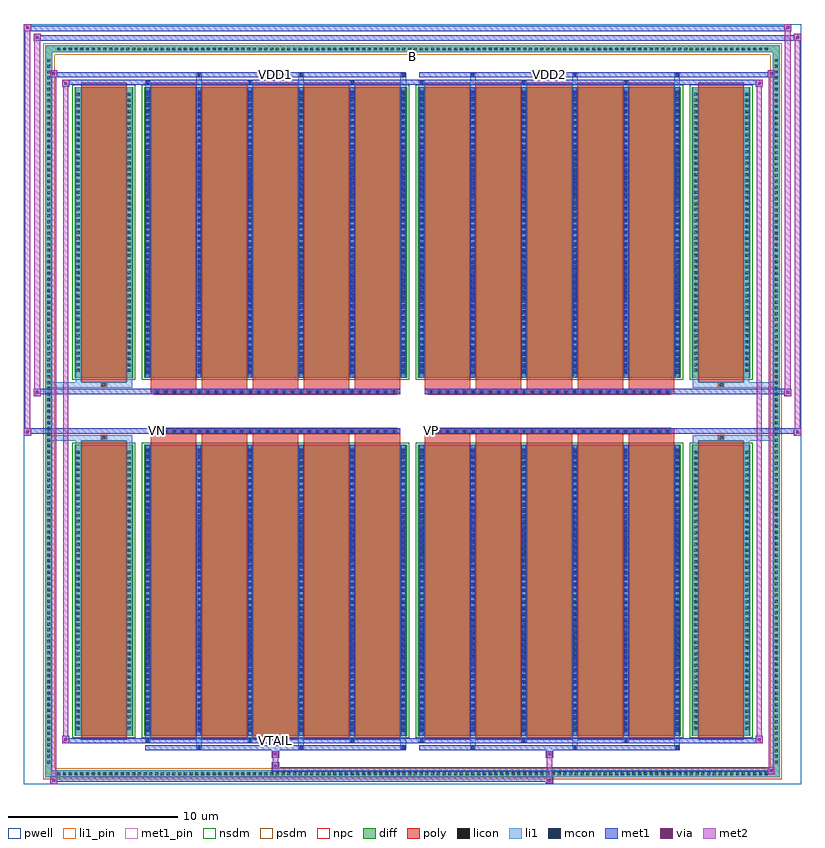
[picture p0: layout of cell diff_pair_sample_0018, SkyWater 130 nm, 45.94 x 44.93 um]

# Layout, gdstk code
import gdstk
lib = gdstk.Library(unit=1e-6, precision=5e-09)
def R(c, l, rs):  # rectangles x0, y0, x1, y1
    for r in rs: c.add(gdstk.rectangle(r[:2], r[2:], *l))
def A(c, l, x, y, w, h, nx, ny, dx, dy):  # array of equal rectangles
    R(c, l, [(x+i*dx, y+j*dy, x+i*dx+w, y+j*dy+h) for i in range(nx) for j in range(ny)])
def P(c, l, *ps):  # polygons
    for p in ps: c.add(gdstk.Polygon(p, *l))
pwell = (64, 44)
diff = (65, 20)
poly = (66, 20)
licon = (66, 44)
li1_pin = (67, 16)
li1 = (67, 20)
mcon = (67, 44)
met1_pin = (68, 16)
met1 = (68, 20)
via = (68, 44)
met2 = (69, 20)
nsdm = (93, 44)
psdm = (94, 20)
npc = (95, 20)

diff_pair_sample_0018 = lib.new_cell('diff_pair_sample_0018')
R(diff_pair_sample_0018, pwell, [(-22.97,-22.03,22.97,22.9), (-20.29,-20.22,-0.01,-0.8), (0.01,-20.22,20.29,-0.8), (-20.29,0.8,-0.01,20.22), (0.01,0.8,20.29,20.22)])
A(diff_pair_sample_0018, diff, -21.115, -21.63, 0.41, 0.41, 124, 2, 0.34, 42.85)
A(diff_pair_sample_0018, diff, -21.7, -20.945, 0.41, 0.41, 1, 123, 0, 0.34)
A(diff_pair_sample_0018, diff, 21.29, -20.945, 0.41, 0.41, 1, 123, 0, 0.34)
R(diff_pair_sample_0018, diff, [(-21.115,-21.63,21.115,-21.22), (-21.7,-20.945,-21.29,20.945), (21.29,-20.945,21.7,20.945), (-19.98,-19.175,-16.51,-1.985), (-15.87,-19.175,-0.32,-1.985), (0.32,-19.175,15.87,-1.985), (16.51,-19.175,19.98,-1.985), (-19.98,1.985,-16.51,19.175), (-15.87,1.985,-0.32,19.175), (0.32,1.985,15.87,19.175), (16.51,1.985,19.98,19.175), (-21.115,21.22,21.115,21.63)])
P(diff_pair_sample_0018, diff, [(21.7,21.63),(-21.7,21.63),(-21.7,-21.22),(-21.29,-21.22),(-21.29,21.22),(21.29,21.22),(21.29,-21.22),(-21.29,-21.22),(-21.7,-21.22),(-21.7,-21.63),(21.7,-21.63)])
A(diff_pair_sample_0018, poly, -15.48, -19.425, 2.69, 17.69, 5, 2, 3.02, 21.16)
A(diff_pair_sample_0018, poly, 0.71, -19.425, 2.69, 17.69, 5, 2, 3.02, 21.16)
A(diff_pair_sample_0018, poly, -15.48, -1.735, 2.69, 0.405, 5, 2, 3.02, 3.065)
A(diff_pair_sample_0018, poly, 0.71, -1.735, 2.69, 0.405, 5, 2, 3.02, 3.065)
A(diff_pair_sample_0018, poly, -15.26, -1.33, 0.33, 0.33, 29, 2, 0.5, 2.33)
A(diff_pair_sample_0018, poly, 0.93, -1.33, 0.33, 0.33, 29, 2, 0.5, 2.33)
R(diff_pair_sample_0018, poly, [(-19.59,-19.425,-16.9,-1.735), (16.9,-19.425,19.59,-1.735), (-18.41,-1.735,-18.08,-1.405), (-18.41,-1.735,-18.08,-1.405), (18.08,-1.735,18.41,-1.405), (18.08,-1.735,18.41,-1.405), (-15.48,-1.33,-0.71,-1), (0.71,-1.33,15.48,-1), (-15.48,1,-0.71,1.33), (0.71,1,15.48,1.33), (-18.41,1.405,-18.08,1.735), (-18.41,1.405,-18.08,1.735), (18.08,1.405,18.41,1.735), (18.08,1.405,18.41,1.735), (-19.59,1.735,-16.9,19.425), (16.9,1.735,19.59,19.425)])
A(diff_pair_sample_0018, licon, -20.995, -21.51, 0.17, 0.17, 124, 2, 0.34, 42.85)
A(diff_pair_sample_0018, licon, -21.58, -20.825, 0.17, 0.17, 1, 123, 0, 0.34)
A(diff_pair_sample_0018, licon, 21.41, -20.825, 0.17, 0.17, 1, 123, 0, 0.34)
A(diff_pair_sample_0018, licon, -19.84, -18.825, 0.17, 0.17, 1, 49, 0, 0.34)
A(diff_pair_sample_0018, licon, -16.82, -18.825, 0.17, 0.17, 1, 49, 0, 0.34)
A(diff_pair_sample_0018, licon, -15.73, -18.825, 0.17, 0.17, 6, 49, 3.02, 0.34)
A(diff_pair_sample_0018, licon, 0.46, -18.825, 0.17, 0.17, 6, 49, 3.02, 0.34)
A(diff_pair_sample_0018, licon, 16.65, -18.825, 0.17, 0.17, 1, 49, 0, 0.34)
A(diff_pair_sample_0018, licon, 19.67, -18.825, 0.17, 0.17, 1, 49, 0, 0.34)
A(diff_pair_sample_0018, licon, -15.18, -1.25, 0.17, 0.17, 29, 2, 0.5, 2.33)
A(diff_pair_sample_0018, licon, 1.01, -1.25, 0.17, 0.17, 29, 2, 0.5, 2.33)
A(diff_pair_sample_0018, licon, -19.84, 2.335, 0.17, 0.17, 1, 49, 0, 0.34)
A(diff_pair_sample_0018, licon, -16.82, 2.335, 0.17, 0.17, 1, 49, 0, 0.34)
A(diff_pair_sample_0018, licon, -15.73, 2.335, 0.17, 0.17, 6, 49, 3.02, 0.34)
A(diff_pair_sample_0018, licon, 0.46, 2.335, 0.17, 0.17, 6, 49, 3.02, 0.34)
A(diff_pair_sample_0018, licon, 16.65, 2.335, 0.17, 0.17, 1, 49, 0, 0.34)
A(diff_pair_sample_0018, licon, 19.67, 2.335, 0.17, 0.17, 1, 49, 0, 0.34)
R(diff_pair_sample_0018, licon, [(-18.33,-1.655,-18.16,-1.485), (18.16,-1.655,18.33,-1.485), (-18.33,1.485,-18.16,1.655), (18.16,1.485,18.33,1.655)])
R(diff_pair_sample_0018, li1_pin, [(-0.25,20.72,0.25,21.22)])
A(diff_pair_sample_0018, li1, -21.075, -21.59, 0.33, 0.33, 124, 2, 0.34, 42.85)
A(diff_pair_sample_0018, li1, -21.66, -20.905, 0.33, 0.33, 1, 123, 0, 0.34)
A(diff_pair_sample_0018, li1, 21.33, -20.905, 0.33, 0.33, 1, 123, 0, 0.34)
A(diff_pair_sample_0018, li1, -12.79, -19.98, 0.33, 0.805, 3, 2, 6.04, 39.155)
A(diff_pair_sample_0018, li1, -12.71, -19.98, 0.17, 0.17, 3, 2, 6.04, 39.79)
A(diff_pair_sample_0018, li1, 3.4, -19.98, 0.33, 0.805, 3, 2, 6.04, 39.155)
A(diff_pair_sample_0018, li1, 3.48, -19.98, 0.17, 0.17, 3, 2, 6.04, 39.79)
A(diff_pair_sample_0018, li1, -15.81, -19.55, 0.33, 0.375, 3, 2, 6.04, 38.725)
A(diff_pair_sample_0018, li1, -15.73, -19.55, 0.17, 0.17, 3, 2, 6.04, 38.93)
A(diff_pair_sample_0018, li1, 0.38, -19.55, 0.33, 0.375, 3, 2, 6.04, 38.725)
A(diff_pair_sample_0018, li1, 0.46, -19.55, 0.17, 0.17, 3, 2, 6.04, 38.93)
A(diff_pair_sample_0018, li1, -15.81, -19.175, 0.33, 17.19, 6, 2, 3.02, 21.16)
A(diff_pair_sample_0018, li1, 0.38, -19.175, 0.33, 17.19, 6, 2, 3.02, 21.16)
A(diff_pair_sample_0018, li1, -15.73, -18.945, 0.17, 0.17, 6, 47, 3.02, 0.36)
A(diff_pair_sample_0018, li1, -15.73, -18.945, 0.17, 16.73, 6, 2, 3.02, 21.16)
A(diff_pair_sample_0018, li1, 0.46, -18.945, 0.17, 0.17, 6, 47, 3.02, 0.36)
A(diff_pair_sample_0018, li1, 0.46, -18.945, 0.17, 16.73, 6, 2, 3.02, 21.16)
A(diff_pair_sample_0018, li1, -19.92, -18.905, 0.33, 0.33, 1, 49, 0, 0.34)
A(diff_pair_sample_0018, li1, -16.9, -18.905, 0.33, 0.33, 1, 49, 0, 0.34)
A(diff_pair_sample_0018, li1, -15.81, -18.905, 0.33, 0.33, 6, 49, 3.02, 0.34)
A(diff_pair_sample_0018, li1, 0.38, -18.905, 0.33, 0.33, 6, 49, 3.02, 0.34)
A(diff_pair_sample_0018, li1, 16.57, -18.905, 0.33, 0.33, 1, 49, 0, 0.34)
A(diff_pair_sample_0018, li1, 19.59, -18.905, 0.33, 0.33, 1, 49, 0, 0.34)
A(diff_pair_sample_0018, li1, -15.26, -1.33, 0.33, 0.33, 29, 2, 0.5, 2.33)
A(diff_pair_sample_0018, li1, 0.93, -1.33, 0.33, 0.33, 29, 2, 0.5, 2.33)
A(diff_pair_sample_0018, li1, -15.73, 2.215, 0.17, 0.17, 6, 47, 3.02, 0.36)
A(diff_pair_sample_0018, li1, 0.46, 2.215, 0.17, 0.17, 6, 47, 3.02, 0.36)
A(diff_pair_sample_0018, li1, -19.92, 2.255, 0.33, 0.33, 1, 49, 0, 0.34)
A(diff_pair_sample_0018, li1, -16.9, 2.255, 0.33, 0.33, 1, 49, 0, 0.34)
A(diff_pair_sample_0018, li1, -15.81, 2.255, 0.33, 0.33, 6, 49, 3.02, 0.34)
A(diff_pair_sample_0018, li1, 0.38, 2.255, 0.33, 0.33, 6, 49, 3.02, 0.34)
A(diff_pair_sample_0018, li1, 16.57, 2.255, 0.33, 0.33, 1, 49, 0, 0.34)
A(diff_pair_sample_0018, li1, 19.59, 2.255, 0.33, 0.33, 1, 49, 0, 0.34)
R(diff_pair_sample_0018, li1, [(-21.7,-21.63,-21.29,-21.22), (-21.7,-21.63,-21.29,-21.22), (-21.29,-21.63,21.29,-21.22), (21.29,-21.63,21.7,-21.22), (21.29,-21.63,21.7,-21.22), (-21.7,-21.22,-21.29,21.22), (21.29,-21.22,21.7,21.22), (-19.92,-19.175,-19.59,-1.985), (-16.9,-19.175,-16.57,-1.985), (16.57,-19.175,16.9,-1.985), (19.59,-19.175,19.92,-1.985), (-19.92,-1.985,-19.59,-1.405), (-16.9,-1.985,-16.57,-1.405), (16.57,-1.985,16.9,-1.405), (19.59,-1.985,19.92,-1.405), (-21.7,-1.735,-18.41,-1.405), (-19.92,-1.735,-18.41,-1.405), (-18.41,-1.735,-18.08,-1.405), (-18.08,-1.735,-16.57,-1.405), (16.57,-1.735,18.08,-1.405), (18.08,-1.735,18.41,-1.405), (18.08,-1.735,21.7,-1.405), (18.41,-1.735,19.92,-1.405), (-21.7,1.405,-18.41,1.735), (-19.92,1.405,-18.41,1.735), (-19.92,1.405,-19.59,1.985), (-18.41,1.405,-18.08,1.735), (-18.08,1.405,-16.57,1.735), (-16.9,1.405,-16.57,1.985), (16.57,1.405,18.08,1.735), (16.57,1.405,16.9,1.985), (18.08,1.405,18.41,1.735), (18.08,1.405,21.7,1.735), (18.41,1.405,19.92,1.735), (19.59,1.405,19.92,1.985), (-19.92,1.985,-19.59,19.175), (-16.9,1.985,-16.57,19.175), (16.57,1.985,16.9,19.175), (19.59,1.985,19.92,19.175), (-21.7,21.22,-21.29,21.63), (-21.7,21.22,-21.29,21.63), (-21.29,21.22,21.29,21.63), (21.29,21.22,21.7,21.63), (21.29,21.22,21.7,21.63)])
A(diff_pair_sample_0018, mcon, -12.71, -19.98, 0.17, 0.17, 3, 2, 6.04, 39.79)
A(diff_pair_sample_0018, mcon, 3.48, -19.98, 0.17, 0.17, 3, 2, 6.04, 39.79)
A(diff_pair_sample_0018, mcon, -15.73, -19.55, 0.17, 0.17, 3, 2, 6.04, 38.93)
A(diff_pair_sample_0018, mcon, 0.46, -19.55, 0.17, 0.17, 3, 2, 6.04, 38.93)
A(diff_pair_sample_0018, mcon, -15.73, -18.945, 0.17, 0.17, 6, 47, 3.02, 0.36)
A(diff_pair_sample_0018, mcon, 0.46, -18.945, 0.17, 0.17, 6, 47, 3.02, 0.36)
A(diff_pair_sample_0018, mcon, -15.18, -1.25, 0.17, 0.17, 29, 2, 0.5, 2.33)
A(diff_pair_sample_0018, mcon, 1.01, -1.25, 0.17, 0.17, 29, 2, 0.5, 2.33)
A(diff_pair_sample_0018, mcon, -15.73, 2.215, 0.17, 0.17, 6, 47, 3.02, 0.36)
A(diff_pair_sample_0018, mcon, 0.46, 2.215, 0.17, 0.17, 6, 47, 3.02, 0.36)
R(diff_pair_sample_0018, met1_pin, [(-8.23,-19.59,-7.96,-19.32), (-15.23,-1.29,-14.96,-1.02), (0.96,-1.29,1.23,-1.02), (-8.23,19.77,-7.96,20.04), (7.96,19.77,8.23,20.04)])
A(diff_pair_sample_0018, met1, -12.77, -20.04, 0.29, 0.29, 3, 2, 6.04, 39.79)
A(diff_pair_sample_0018, met1, 3.42, -20.04, 0.29, 0.29, 3, 2, 6.04, 39.79)
A(diff_pair_sample_0018, met1, -15.79, -19.61, 0.29, 0.29, 3, 2, 6.04, 38.93)
A(diff_pair_sample_0018, met1, 0.4, -19.61, 0.29, 0.29, 3, 2, 6.04, 38.93)
A(diff_pair_sample_0018, met1, -15.79, -19.175, 0.29, 17.19, 6, 2, 3.02, 21.16)
A(diff_pair_sample_0018, met1, 0.4, -19.175, 0.29, 17.19, 6, 2, 3.02, 21.16)
A(diff_pair_sample_0018, met1, -15.79, -19.005, 0.29, 0.29, 6, 47, 3.02, 0.36)
A(diff_pair_sample_0018, met1, 0.4, -19.005, 0.29, 0.29, 6, 47, 3.02, 0.36)
A(diff_pair_sample_0018, met1, -15.24, -1.31, 0.29, 0.29, 29, 2, 0.5, 2.33)
A(diff_pair_sample_0018, met1, 0.95, -1.31, 0.29, 0.29, 29, 2, 0.5, 2.33)
A(diff_pair_sample_0018, met1, -15.79, 2.155, 0.29, 0.29, 6, 47, 3.02, 0.36)
A(diff_pair_sample_0018, met1, 0.4, 2.155, 0.29, 0.29, 6, 47, 3.02, 0.36)
R(diff_pair_sample_0018, met1, [(-21.43,-22.03,-21,-21.6), (7.88,-22.03,8.31,-21.6), (-21.43,-21.89,8.31,-21.6), (21,-21.46,21.43,-21.03), (-8.31,-21.32,21.43,-21.03), (-8.31,-21.18,-7.88,-20.75), (-8.31,-20.47,-7.88,-20.04), (7.88,-20.47,8.31,-20.04), (-15.79,-20.04,-0.4,-19.75), (0.4,-20.04,15.79,-19.75), (-20.72,-19.61,-20.29,-19.18), (-20.72,-19.61,-15.79,-19.32), (-15.79,-19.61,-0.4,-19.32), (-0.4,-19.61,0.4,-19.32), (0.4,-19.61,15.79,-19.32), (15.79,-19.61,20.72,-19.32), (20.29,-19.61,20.72,-19.18), (-22.97,-1.43,-22.54,-1), (22.54,-1.43,22.97,-1), (-22.97,-1.33,-0.71,-1), (-15.48,-1.33,-0.71,-1), (0.71,-1.33,15.48,-1), (0.71,-1.33,22.97,-1), (-22.4,0.9,-21.97,1.33), (21.97,0.9,22.4,1.33), (-22.4,1,-15.48,1.33), (-15.48,1,-0.71,1.33), (0.71,1,15.48,1.33), (15.48,1,22.4,1.33), (-20.72,19.18,-20.29,19.61), (20.29,19.18,20.72,19.61), (-20.72,19.32,-15.79,19.61), (-15.79,19.32,-0.4,19.61), (-0.4,19.32,0.4,19.61), (0.4,19.32,15.79,19.61), (15.79,19.32,20.72,19.61), (-21.43,19.75,-21,20.18), (-21.43,19.75,-15.79,20.04), (-15.79,19.75,-0.4,20.04), (0.4,19.75,15.79,20.04), (15.79,19.75,21.43,20.04), (21,19.75,21.43,20.18), (-22.4,21.9,-21.97,22.33), (-22.4,21.9,-20.29,22.23), (-20.29,21.9,20.29,22.23), (20.29,21.9,22.97,22.23), (22.54,21.9,22.97,22.33), (-22.97,22.47,-22.54,22.9), (-22.97,22.47,-20.29,22.8), (-20.29,22.47,20.29,22.8), (20.29,22.47,22.4,22.8), (21.97,22.47,22.4,22.9)])
R(diff_pair_sample_0018, via, [(-21.29,-21.89,-21.14,-21.74), (8.02,-21.89,8.17,-21.74), (21.14,-21.32,21.29,-21.17), (-8.17,-21.04,-8.02,-20.89), (-8.17,-20.33,-8.02,-20.18), (8.02,-20.33,8.17,-20.18), (-20.58,-19.47,-20.43,-19.32), (20.43,-19.47,20.58,-19.32), (-22.83,-1.29,-22.68,-1.14), (22.68,-1.29,22.83,-1.14), (-22.26,1.04,-22.11,1.19), (22.11,1.04,22.26,1.19), (-20.58,19.32,-20.43,19.47), (20.43,19.32,20.58,19.47), (-21.29,19.89,-21.14,20.04), (21.14,19.89,21.29,20.04), (-22.26,22.04,-22.11,22.19), (22.68,22.04,22.83,22.19), (-22.83,22.61,-22.68,22.76), (22.11,22.61,22.26,22.76)])
R(diff_pair_sample_0018, met2, [(-21.43,-22.03,-21,-21.6), (-21.36,-22.03,-21.07,20.18), (-21.07,-22.03,-21,-21.6), (-21.38,-21.98,-21.05,-21.65), (7.93,-21.98,8.26,-21.65), (7.93,-21.65,8.26,-20.42), (21,-21.46,21.43,-21.03), (21.07,-21.46,21.36,20.18), (21.36,-21.46,21.43,-21.03), (21.05,-21.41,21.38,-21.08), (-8.26,-21.13,-7.93,-20.8), (-8.26,-20.8,-7.93,-20.42), (-8.26,-20.42,-7.93,-20.09), (7.93,-20.42,8.26,-20.09), (-20.72,-19.61,-20.29,-19.18), (-20.65,-19.61,-20.36,19.61), (-20.36,-19.61,-20.29,-19.18), (20.29,-19.61,20.72,-19.18), (20.36,-19.61,20.65,19.61), (20.65,-19.61,20.72,-19.18), (-20.67,-19.56,-20.34,-19.23), (20.34,-19.56,20.67,-19.23), (-22.97,-1.43,-22.54,-1), (-22.92,-1.43,-22.59,22.9), (-22.59,-1.43,-22.54,-1), (22.54,-1.43,22.97,-1), (22.59,-1.43,22.92,22.33), (22.92,-1.43,22.97,-1), (-22.92,-1.38,-22.59,-1.05), (22.59,-1.38,22.92,-1.05), (-22.4,0.9,-21.97,1.33), (-22.35,0.9,-22.02,22.33), (-22.02,0.9,-21.97,1.33), (21.97,0.9,22.4,1.33), (22.02,0.9,22.35,22.9), (22.35,0.9,22.4,1.33), (-22.35,0.95,-22.02,1.28), (22.02,0.95,22.35,1.28), (-20.72,19.18,-20.29,19.61), (-20.36,19.18,-20.29,19.61), (20.29,19.18,20.72,19.61), (20.65,19.18,20.72,19.61), (-20.67,19.23,-20.34,19.56), (20.34,19.23,20.67,19.56), (-21.43,19.75,-21,20.18), (-21.07,19.75,-21,20.18), (21,19.75,21.43,20.18), (21.36,19.75,21.43,20.18), (-21.38,19.8,-21.05,20.13), (21.05,19.8,21.38,20.13), (-22.4,21.9,-21.97,22.33), (-22.02,21.9,-21.97,22.33), (22.54,21.9,22.97,22.33), (22.92,21.9,22.97,22.33), (-22.35,21.95,-22.02,22.28), (22.59,21.95,22.92,22.28), (-22.97,22.47,-22.54,22.9), (-22.59,22.47,-22.54,22.9), (21.97,22.47,22.4,22.9), (22.35,22.47,22.4,22.9), (-22.92,22.52,-22.59,22.85), (22.02,22.52,22.35,22.85)])
R(diff_pair_sample_0018, nsdm, [(-20.11,-19.305,-16.38,-1.855), (-16,-19.305,-0.19,-1.855), (0.19,-19.305,16,-1.855), (16.38,-19.305,20.11,-1.855), (-20.11,1.855,-16.38,19.305), (-16,1.855,-0.19,19.305), (0.19,1.855,16,19.305), (16.38,1.855,20.11,19.305)])
P(diff_pair_sample_0018, psdm, [(21.83,21.76),(-21.83,21.76),(-21.83,-21.09),(-21.16,-21.09),(-21.16,21.09),(21.16,21.09),(21.16,-21.09),(-21.16,-21.09),(-21.83,-21.09),(-21.83,-21.76),(21.83,-21.76)])
A(diff_pair_sample_0018, npc, -15.28, -1.35, 0.37, 0.37, 29, 2, 0.5, 2.33)
A(diff_pair_sample_0018, npc, 0.91, -1.35, 0.37, 0.37, 29, 2, 0.5, 2.33)
R(diff_pair_sample_0018, npc, [(-18.43,-1.755,-18.06,-1.385), (18.06,-1.755,18.43,-1.385), (-15.28,-1.35,-14.41,-0.98), (-15.28,-1.35,-14.41,-0.98), (-14.78,-1.35,-13.91,-0.98), (-14.78,-1.35,-13.91,-0.98), (-14.28,-1.35,-13.41,-0.98), (-14.28,-1.35,-13.41,-0.98), (-13.78,-1.35,-12.91,-0.98), (-13.78,-1.35,-12.91,-0.98), (-13.28,-1.35,-12.41,-0.98), (-13.28,-1.35,-12.41,-0.98), (-12.78,-1.35,-11.91,-0.98), (-12.78,-1.35,-11.91,-0.98), (-12.28,-1.35,-11.41,-0.98), (-12.28,-1.35,-11.41,-0.98), (-11.78,-1.35,-10.91,-0.98), (-11.78,-1.35,-10.91,-0.98), (-11.28,-1.35,-10.41,-0.98), (-11.28,-1.35,-10.41,-0.98), (-10.78,-1.35,-9.91,-0.98), (-10.78,-1.35,-9.91,-0.98), (-10.28,-1.35,-9.41,-0.98), (-10.28,-1.35,-9.41,-0.98), (-9.78,-1.35,-8.91,-0.98), (-9.78,-1.35,-8.91,-0.98), (-9.28,-1.35,-8.41,-0.98), (-9.28,-1.35,-8.41,-0.98), (-8.78,-1.35,-7.91,-0.98), (-8.78,-1.35,-7.91,-0.98), (-8.28,-1.35,-7.41,-0.98), (-8.28,-1.35,-7.41,-0.98), (-7.78,-1.35,-6.91,-0.98), (-7.78,-1.35,-6.91,-0.98), (-7.28,-1.35,-6.41,-0.98), (-7.28,-1.35,-6.41,-0.98), (-6.78,-1.35,-5.91,-0.98), (-6.78,-1.35,-5.91,-0.98), (-6.28,-1.35,-5.41,-0.98), (-6.28,-1.35,-5.41,-0.98), (-5.78,-1.35,-4.91,-0.98), (-5.78,-1.35,-4.91,-0.98), (-5.28,-1.35,-4.41,-0.98), (-5.28,-1.35,-4.41,-0.98), (-4.78,-1.35,-3.91,-0.98), (-4.78,-1.35,-3.91,-0.98), (-4.28,-1.35,-3.41,-0.98), (-4.28,-1.35,-3.41,-0.98), (-3.78,-1.35,-2.91,-0.98), (-3.78,-1.35,-2.91,-0.98), (-3.28,-1.35,-2.41,-0.98), (-3.28,-1.35,-2.41,-0.98), (-2.78,-1.35,-1.91,-0.98), (-2.78,-1.35,-1.91,-0.98), (-2.28,-1.35,-1.41,-0.98), (-2.28,-1.35,-1.41,-0.98), (-1.78,-1.35,-0.91,-0.98), (-1.78,-1.35,-0.91,-0.98), (0.91,-1.35,1.78,-0.98), (0.91,-1.35,1.78,-0.98), (1.41,-1.35,2.28,-0.98), (1.41,-1.35,2.28,-0.98), (1.91,-1.35,2.78,-0.98), (1.91,-1.35,2.78,-0.98), (2.41,-1.35,3.28,-0.98), (2.41,-1.35,3.28,-0.98), (2.91,-1.35,3.78,-0.98), (2.91,-1.35,3.78,-0.98), (3.41,-1.35,4.28,-0.98), (3.41,-1.35,4.28,-0.98), (3.91,-1.35,4.78,-0.98), (3.91,-1.35,4.78,-0.98), (4.41,-1.35,5.28,-0.98), (4.41,-1.35,5.28,-0.98), (4.91,-1.35,5.78,-0.98), (4.91,-1.35,5.78,-0.98), (5.41,-1.35,6.28,-0.98), (5.41,-1.35,6.28,-0.98), (5.91,-1.35,6.78,-0.98), (5.91,-1.35,6.78,-0.98), (6.41,-1.35,7.28,-0.98), (6.41,-1.35,7.28,-0.98), (6.91,-1.35,7.78,-0.98), (6.91,-1.35,7.78,-0.98), (7.41,-1.35,8.28,-0.98), (7.41,-1.35,8.28,-0.98), (7.91,-1.35,8.78,-0.98), (7.91,-1.35,8.78,-0.98), (8.41,-1.35,9.28,-0.98), (8.41,-1.35,9.28,-0.98), (8.91,-1.35,9.78,-0.98), (8.91,-1.35,9.78,-0.98), (9.41,-1.35,10.28,-0.98), (9.41,-1.35,10.28,-0.98), (9.91,-1.35,10.78,-0.98), (9.91,-1.35,10.78,-0.98), (10.41,-1.35,11.28,-0.98), (10.41,-1.35,11.28,-0.98), (10.91,-1.35,11.78,-0.98), (10.91,-1.35,11.78,-0.98), (11.41,-1.35,12.28,-0.98), (11.41,-1.35,12.28,-0.98), (11.91,-1.35,12.78,-0.98), (11.91,-1.35,12.78,-0.98), (12.41,-1.35,13.28,-0.98), (12.41,-1.35,13.28,-0.98), (12.91,-1.35,13.78,-0.98), (12.91,-1.35,13.78,-0.98), (13.41,-1.35,14.28,-0.98), (13.41,-1.35,14.28,-0.98), (13.91,-1.35,14.78,-0.98), (13.91,-1.35,14.78,-0.98), (14.41,-1.35,15.28,-0.98), (14.41,-1.35,15.28,-0.98), (-15.28,0.98,-14.41,1.35), (-15.28,0.98,-14.41,1.35), (-14.78,0.98,-13.91,1.35), (-14.78,0.98,-13.91,1.35), (-14.28,0.98,-13.41,1.35), (-14.28,0.98,-13.41,1.35), (-13.78,0.98,-12.91,1.35), (-13.78,0.98,-12.91,1.35), (-13.28,0.98,-12.41,1.35), (-13.28,0.98,-12.41,1.35), (-12.78,0.98,-11.91,1.35), (-12.78,0.98,-11.91,1.35), (-12.28,0.98,-11.41,1.35), (-12.28,0.98,-11.41,1.35), (-11.78,0.98,-10.91,1.35), (-11.78,0.98,-10.91,1.35), (-11.28,0.98,-10.41,1.35), (-11.28,0.98,-10.41,1.35), (-10.78,0.98,-9.91,1.35), (-10.78,0.98,-9.91,1.35), (-10.28,0.98,-9.41,1.35), (-10.28,0.98,-9.41,1.35), (-9.78,0.98,-8.91,1.35), (-9.78,0.98,-8.91,1.35), (-9.28,0.98,-8.41,1.35), (-9.28,0.98,-8.41,1.35), (-8.78,0.98,-7.91,1.35), (-8.78,0.98,-7.91,1.35), (-8.28,0.98,-7.41,1.35), (-8.28,0.98,-7.41,1.35), (-7.78,0.98,-6.91,1.35), (-7.78,0.98,-6.91,1.35), (-7.28,0.98,-6.41,1.35), (-7.28,0.98,-6.41,1.35), (-6.78,0.98,-5.91,1.35), (-6.78,0.98,-5.91,1.35), (-6.28,0.98,-5.41,1.35), (-6.28,0.98,-5.41,1.35), (-5.78,0.98,-4.91,1.35), (-5.78,0.98,-4.91,1.35), (-5.28,0.98,-4.41,1.35), (-5.28,0.98,-4.41,1.35), (-4.78,0.98,-3.91,1.35), (-4.78,0.98,-3.91,1.35), (-4.28,0.98,-3.41,1.35), (-4.28,0.98,-3.41,1.35), (-3.78,0.98,-2.91,1.35), (-3.78,0.98,-2.91,1.35), (-3.28,0.98,-2.41,1.35), (-3.28,0.98,-2.41,1.35), (-2.78,0.98,-1.91,1.35), (-2.78,0.98,-1.91,1.35), (-2.28,0.98,-1.41,1.35), (-2.28,0.98,-1.41,1.35), (-1.78,0.98,-0.91,1.35), (-1.78,0.98,-0.91,1.35), (0.91,0.98,1.78,1.35), (0.91,0.98,1.78,1.35), (1.41,0.98,2.28,1.35), (1.41,0.98,2.28,1.35), (1.91,0.98,2.78,1.35), (1.91,0.98,2.78,1.35), (2.41,0.98,3.28,1.35), (2.41,0.98,3.28,1.35), (2.91,0.98,3.78,1.35), (2.91,0.98,3.78,1.35), (3.41,0.98,4.28,1.35), (3.41,0.98,4.28,1.35), (3.91,0.98,4.78,1.35), (3.91,0.98,4.78,1.35), (4.41,0.98,5.28,1.35), (4.41,0.98,5.28,1.35), (4.91,0.98,5.78,1.35), (4.91,0.98,5.78,1.35), (5.41,0.98,6.28,1.35), (5.41,0.98,6.28,1.35), (5.91,0.98,6.78,1.35), (5.91,0.98,6.78,1.35), (6.41,0.98,7.28,1.35), (6.41,0.98,7.28,1.35), (6.91,0.98,7.78,1.35), (6.91,0.98,7.78,1.35), (7.41,0.98,8.28,1.35), (7.41,0.98,8.28,1.35), (7.91,0.98,8.78,1.35), (7.91,0.98,8.78,1.35), (8.41,0.98,9.28,1.35), (8.41,0.98,9.28,1.35), (8.91,0.98,9.78,1.35), (8.91,0.98,9.78,1.35), (9.41,0.98,10.28,1.35), (9.41,0.98,10.28,1.35), (9.91,0.98,10.78,1.35), (9.91,0.98,10.78,1.35), (10.41,0.98,11.28,1.35), (10.41,0.98,11.28,1.35), (10.91,0.98,11.78,1.35), (10.91,0.98,11.78,1.35), (11.41,0.98,12.28,1.35), (11.41,0.98,12.28,1.35), (11.91,0.98,12.78,1.35), (11.91,0.98,12.78,1.35), (12.41,0.98,13.28,1.35), (12.41,0.98,13.28,1.35), (12.91,0.98,13.78,1.35), (12.91,0.98,13.78,1.35), (13.41,0.98,14.28,1.35), (13.41,0.98,14.28,1.35), (13.91,0.98,14.78,1.35), (13.91,0.98,14.78,1.35), (14.41,0.98,15.28,1.35), (14.41,0.98,15.28,1.35), (-18.43,1.385,-18.06,1.755), (18.06,1.385,18.43,1.755)])
diff_pair_sample_0018.add(gdstk.Label('VTAIL', (-8.095,-19.455), layer=68, texttype=5))
diff_pair_sample_0018.add(gdstk.Label('VN', (-15.095,-1.155), layer=68, texttype=5))
diff_pair_sample_0018.add(gdstk.Label('VP', (1.095,-1.155), layer=68, texttype=5))
diff_pair_sample_0018.add(gdstk.Label('B', (0,20.97), layer=67, texttype=5))
diff_pair_sample_0018.add(gdstk.Label('VDD2', (8.095,19.905), layer=68, texttype=5))
diff_pair_sample_0018.add(gdstk.Label('VDD1', (-8.095,19.905), layer=68, texttype=5))

lib.write_gds('diff_pair_sample_0018.gds')
